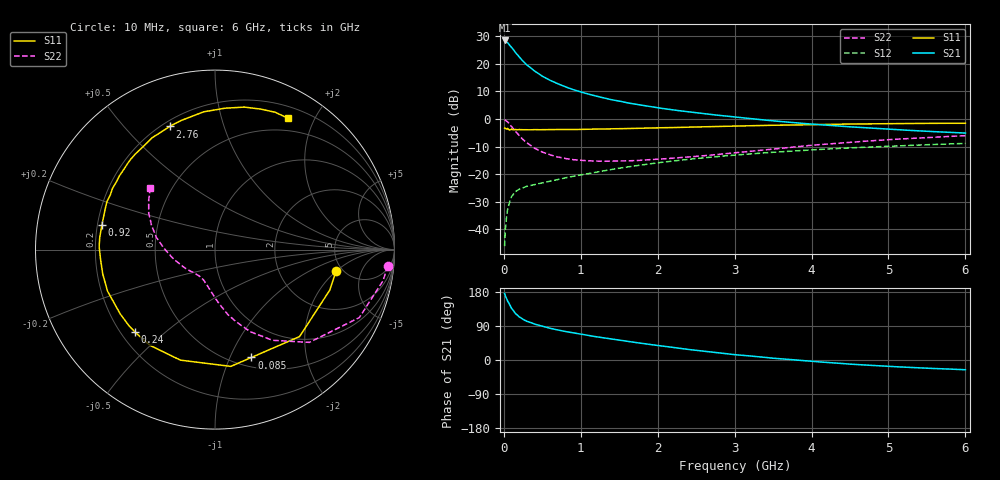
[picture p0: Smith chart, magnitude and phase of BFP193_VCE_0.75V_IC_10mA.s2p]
! Infineon Technologies  Discrete & RF Semiconductors
! BFP193
! VCE = 0.75V,  IC =  10 mA
! Common Emitter S-Parameters:  Jan 2016
# GHz  S  MA  R  50
!  f  S11  S21  S12  S22
! GHz  MAG  ANG  MAG  ANG  MAG  ANG  MAG  ANG
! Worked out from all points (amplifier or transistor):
!   210 points, 10 MHz to 6 GHz, reference 50 ohm
!   highest |S21| = 28.5 dB at 10 MHz (marker M1)
!   |S21| within 3 dB of that: start of sweep to 114.6 MHz
!   unconditionally stable (mu >= 1): 906.5 MHz to 4.351 GHz
!   at 185 MHz: K = 0.34, MSG = 24.4 dB, |S12| = -25.8 dB
!   at 1.52 GHz: K = 1.11, MAG = 10.0 dB, |S12| = -17.8 dB
!   at 6 GHz: K = 0.98, MSG = 1.9 dB, |S12| = -8.9 dB
!   S11 on the Smith chart (normalised r, x): 10 MHz: 4.42, -1.98; 85 MHz: 0.60, -1.21; 240 MHz: 0.26, -0.40; 920 MHz: 0.22, +0.10; 2.76 GHz: 0.23, +0.67; 6 GHz: 0.34, +1.65
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0.01  0.6848 -10.0  26.72 175.5  0.0049 87.0  0.9666 -5.4
0.02  0.6783 -19.4  26.02 169.1  0.0099 81.4  0.9522 -10.5
0.05  0.6758 -45.8  24.33 155.2  0.0232 68.3  0.8888 -25.2
0.085  0.6342 -71.3  21.16 142.7  0.034 58.2  0.7729 -38.0
0.1  0.6567 -82.3  20.17 136.3  0.0388 55.6  0.7374 -44.5
0.15  0.6453 -107.4  16.23 122.7  0.0479 46.4  0.5984 -57.6
0.2  0.6448 -124.2  13.37 113.8  0.0531 41.9  0.4985 -66.7
0.24  0.6402 -134.1  11.59 108.6  0.0558 39.6  0.4364 -71.9
0.26  0.6399 -138.4  10.84 106.1  0.0572 38.8  0.4107 -74.4
0.3  0.6383 -145.8  9.578 102.0  0.06 38.2  0.3689 -78.8
0.4  0.642 -158.9  7.424 94.7  0.0646 37.8  0.2946 -86.6
0.5  0.64 -167.8  5.995 88.9  0.069 38.7  0.251 -92.6
0.7  0.6457 178.5  4.375 79.0  0.0793 41.3  0.2044 -102.2
0.92  0.6449 167.8  3.354 70.9  0.092 43.3  0.1816 -110.3
1.02  0.6475 163.3  3.042 67.4  0.0978 44.1  0.1769 -113.4
1.4  0.6651 149.2  2.241 55.3  0.1213 44.9  0.1723 -125.0
2.02  0.6929 130.0  1.586 37.8  0.1615 42.4  0.1867 -142.8
2.76  0.7308 110.2  1.181 19.6  0.2067 36.3  0.2261 -163.5
3.1  0.7471 102.6  1.051 12.5  0.2265 32.9  0.2506 -172.4
4.1  0.7926 84.5  0.79 -5.0  0.2799 22.4  0.342 166.2
5.1  0.8249 70.8  0.642 -17.8  0.324 11.8  0.4295 149.3
6  0.8369 60.9  0.556 -25.7  0.3605 2.3  0.4989 136.1
